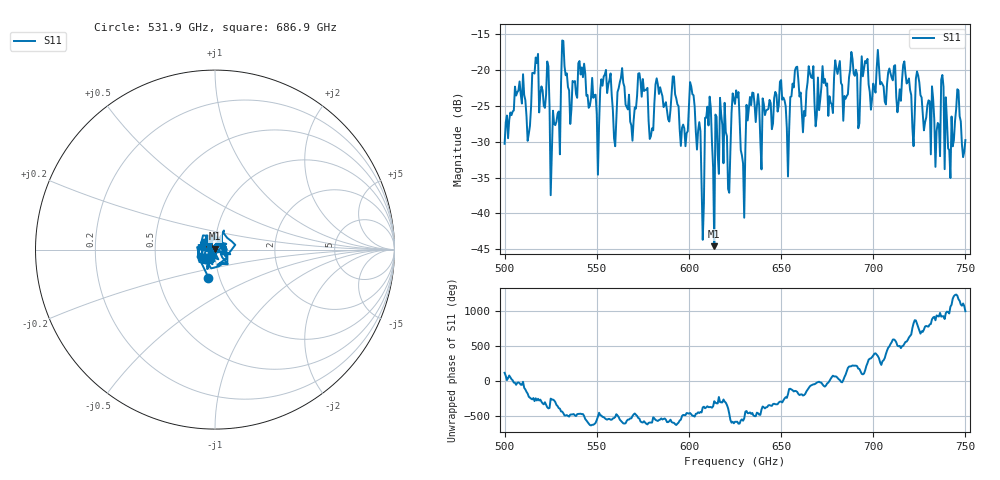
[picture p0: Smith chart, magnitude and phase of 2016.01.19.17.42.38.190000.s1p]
!Created with skrf (http://scikit-rf.org).
# GHz S RI R 50.0
!freq ReS11 ImS11
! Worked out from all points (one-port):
!   401 points, 500 GHz to 750 GHz, reference 50 ohm
!   lowest |S11| = -44.6 dB at 613.8 GHz (marker M1), VSWR 1.01, Z = 50.2 + j0.555 ohm
!   |S11| at or under -10 dB: start of sweep to end of sweep
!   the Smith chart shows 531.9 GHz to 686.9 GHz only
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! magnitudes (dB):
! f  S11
! 500 GHz  -30.3
! 506.9 GHz  -23.1
! 513.1 GHz  -28.9
! 516.9 GHz  -18.2
! 526.2 GHz  -25.7
! 531.2 GHz  -15.8
! 550 GHz  -26.1
! 562.5 GHz  -21.7
! 569.4 GHz  -29.8
! 573.8 GHz  -21.5
! 579.4 GHz  -29.2
! 583.1 GHz  -21.9
! 593.8 GHz  -24.8
! 598.1 GHz  -30.6
! 601.9 GHz  -23.3
! 606.9 GHz  -36.2
! 610.6 GHz  -27.7
! 613.8 GHz  -44.6
! 618.1 GHz  -27.7
! 621.2 GHz  -36.6
! 625 GHz  -24.7
! 629.4 GHz  -33.0
! 633.8 GHz  -24.9
! 653.1 GHz  -28.1
! 656.2 GHz  -21.9
! 687.5 GHz  -19.9
! 718.8 GHz  -21.6
! 750 GHz  -29.8
